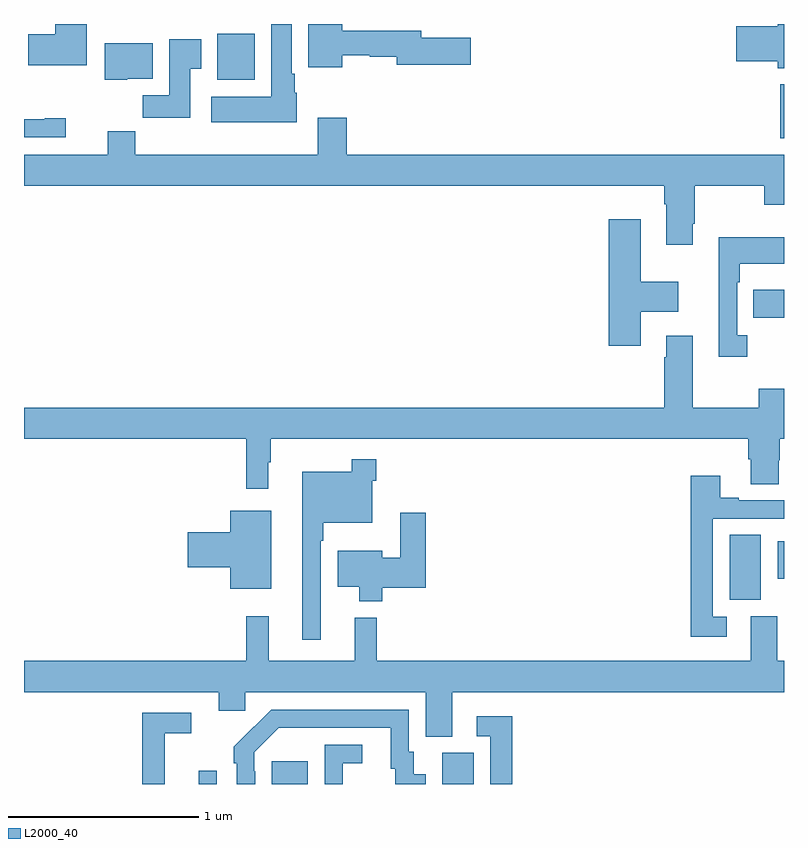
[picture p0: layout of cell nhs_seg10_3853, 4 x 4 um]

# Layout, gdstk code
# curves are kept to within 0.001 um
import gdstk
lib = gdstk.Library(unit=1e-6, precision=1e-09)
def R(c, l, rs):  # rectangles x0, y0, x1, y1
    for r in rs: c.add(gdstk.rectangle(r[:2], r[2:], *l))
def P(c, l, *ps):  # polygons
    for p in ps: c.add(gdstk.Polygon(p, *l))
L2000_40 = (2000, 40)

nhs_seg10_3853 = lib.new_cell('nhs_seg10_3853')
R(nhs_seg10_3853, L2000_40, [(323.919,1298.5,324.015,1298.569), (324.305,1298.5,324.493,1298.62), (325.202,1298.5,325.366,1298.664), (326.714,1299.469,326.878,1299.812), (326.966,1299.581,327,1299.778), (326.839,1300.954,327,1301.101), (326.981,1301.898,327,1302.183), (324.017,1302.206,324.214,1302.448)])
P(nhs_seg10_3853, L2000_40, [(327,1302.5),(326.966,1302.5),(326.966,1302.488),(326.748,1302.488),(326.748,1302.305),(326.966,1302.305),(326.966,1302.268),(327,1302.268)],
  [(323.329,1302.5),(323.165,1302.5),(323.165,1302.447),(323.022,1302.447),(323.022,1302.284),(323.329,1302.284)],
  [(324.676,1302.336),(324.819,1302.336),(324.819,1302.328),(324.962,1302.328),(324.962,1302.286),(325.351,1302.286),(325.351,1302.428),(325.09,1302.428),(325.09,1302.464),(324.676,1302.464),(324.676,1302.5),(324.497,1302.5),(324.497,1302.272),(324.676,1302.272)],
  [(324.436,1302.138),(324.424,1302.138),(324.424,1302.238),(324.409,1302.238),(324.409,1302.5),(324.302,1302.5),(324.302,1302.118),(323.985,1302.118),(323.985,1301.984),(324.436,1301.984)],
  [(323.875,1302.265),(323.932,1302.265),(323.932,1302.421),(323.765,1302.421),(323.765,1302.124),(323.626,1302.124),(323.626,1302.006),(323.875,1302.006)],
  [(323.544,1302.212),(323.677,1302.212),(323.677,1302.4),(323.426,1302.4),(323.426,1302.206),(323.544,1302.206)],
  [(326.521,1301.449),(326.529,1301.449),(326.529,1301.648),(326.896,1301.648),(326.896,1301.549),(327,1301.549),(327,1301.812),(324.698,1301.812),(324.698,1302.007),(324.545,1302.007),(324.545,1301.812),(323.585,1301.812),(323.585,1301.936),(323.441,1301.936),(323.441,1301.812),(323,1301.812),(323,1301.648),(326.369,1301.648),(326.369,1301.552),(326.381,1301.552),(326.381,1301.337),(326.521,1301.337)],
  [(323.221,1302.005),(323.108,1302.005),(323.108,1302),(323,1302),(323,1301.904),(323.221,1301.904)],
  [(326.245,1300.985),(326.443,1300.985),(326.443,1301.143),(326.245,1301.143),(326.245,1301.473),(326.078,1301.473),(326.078,1300.806),(326.245,1300.806)],
  [(326.806,1300.862),(326.754,1300.862),(326.754,1301.141),(326.767,1301.141),(326.767,1301.237),(327,1301.237),(327,1301.377),(326.657,1301.377),(326.657,1300.749),(326.806,1300.749)],
  [(324.286,1300.193),(324.298,1300.193),(324.298,1300.316),(326.813,1300.316),(326.813,1300.21),(326.825,1300.21),(326.825,1300.078),(326.973,1300.078),(326.973,1300.203),(326.978,1300.203),(326.978,1300.316),(327,1300.316),(327,1300.579),(326.866,1300.579),(326.866,1300.48),(326.521,1300.48),(326.521,1300.858),(326.381,1300.858),(326.381,1300.745),(326.369,1300.745),(326.369,1300.48),(323,1300.48),(323,1300.316),(324.169,1300.316),(324.169,1300.053),(324.286,1300.053)],
  [(324.561,1299.779),(324.574,1299.779),(324.574,1299.875),(324.834,1299.875),(324.834,1300.097),(324.854,1300.097),(324.854,1300.21),(324.726,1300.21),(324.726,1300.144),(324.464,1300.144),(324.464,1299.258),(324.561,1299.258)],
  [(326.698,1299.381),(326.625,1299.381),(326.625,1299.897),(327,1299.897),(327,1299.993),(326.761,1299.993),(326.761,1300.006),(326.665,1300.006),(326.665,1300.123),(326.509,1300.123),(326.509,1299.276),(326.698,1299.276)],
  [(324.301,1299.937),(324.086,1299.937),(324.086,1299.824),(323.862,1299.824),(323.862,1299.641),(324.086,1299.641),(324.086,1299.527),(324.301,1299.527)],
  [(324.886,1299.532),(325.115,1299.532),(325.115,1299.928),(324.98,1299.928),(324.98,1299.692),(324.886,1299.692),(324.886,1299.727),(324.65,1299.727),(324.65,1299.539),(324.764,1299.539),(324.764,1299.461),(324.886,1299.461)],
  [(325.255,1298.984),(327,1298.984),(327,1299.148),(326.965,1299.148),(326.965,1299.384),(326.825,1299.384),(326.825,1299.148),(324.857,1299.148),(324.857,1299.376),(324.74,1299.376),(324.74,1299.148),(324.287,1299.148),(324.287,1299.382),(324.169,1299.382),(324.169,1299.148),(323,1299.148),(323,1298.984),(324.026,1298.984),(324.026,1298.886),(324.165,1298.886),(324.165,1298.984),(325.115,1298.984),(325.115,1298.749),(325.255,1298.749)],
  [(324.216,1298.567),(324.213,1298.567),(324.213,1298.667),(324.342,1298.796),(324.929,1298.796),(324.929,1298.58),(324.953,1298.58),(324.953,1298.5),(325.114,1298.5),(325.114,1298.551),(325.051,1298.551),(325.051,1298.67),(325.026,1298.67),(325.026,1298.892),(324.302,1298.892),(324.105,1298.697),(324.105,1298.609),(324.12,1298.609),(324.12,1298.5),(324.216,1298.5)],
  [(323.741,1298.766),(323.881,1298.766),(323.881,1298.874),(323.623,1298.874),(323.623,1298.5),(323.741,1298.5)],
  [(325.571,1298.857),(325.383,1298.857),(325.383,1298.751),(325.455,1298.751),(325.455,1298.5),(325.571,1298.5)],
  [(324.678,1298.61),(324.781,1298.61),(324.781,1298.706),(324.582,1298.706),(324.582,1298.5),(324.678,1298.5)])

lib.write_gds('nhs_seg10_3853.gds')
